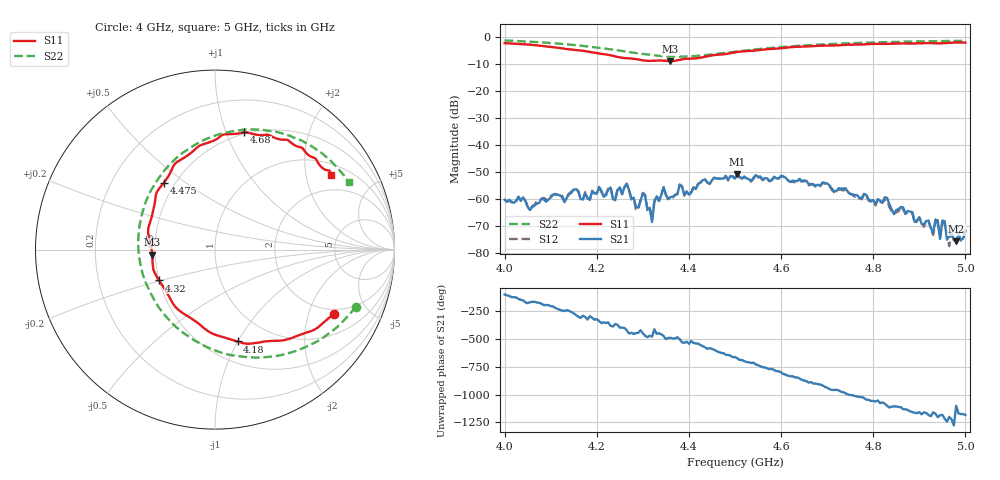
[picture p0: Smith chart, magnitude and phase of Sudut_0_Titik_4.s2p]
# Hz S RI R 50
! CMT, C1220, 16058040, 17.2.0/1
! Date: 15/08/2018 12:26:38
! Data: Format (Calibration Info)
! Freq  S11: Re/Im (F2)  S21: Re/Im (F2)  S12: Re/Im (F2)  S22: Re/Im (F2)
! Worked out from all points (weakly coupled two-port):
!   201 points, 4 GHz to 5 GHz, reference 50 ohm
!   highest |S21| = -50.91 dB at 4.505 GHz (marker M1); lowest = -75.7 dB at 4.98 GHz (marker M2)
!   lowest |S11| = -9.1 dB at 4.36 GHz (marker M3), VSWR 2.08, Z = 24.1 - j1.57 ohm
!   |S11| at or under -10 dB: nowhere
!   |S22| runs from -7.5 to -1.5 dB; largest |S21 - S12| = 0.00013
!   S11 on the Smith chart (normalised r, x): 4 GHz: 1.79, -2.97; 4.18 GHz: 0.70, -1.00; 4.32 GHz: 0.50, -0.20; 4.475 GHz: 0.44, +0.42; 4.68 GHz: 0.49, +1.16; 5 GHz: 1.36, +2.79
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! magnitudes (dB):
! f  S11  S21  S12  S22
! 4 GHz  -2.4  -60.3  -60.4  -1.5
! 4.17 GHz  -5.3  -60.2  -60.2  -3.5
! 4.18 GHz  -5.6  -59.8  -59.8  -3.7
! 4.265 GHz  -8.0  -54.4  -54.4  -5.6
! 4.285 GHz  -8.3  -62.8  -63.8  -6.1
! 4.305 GHz  -8.9  -59.0  -58.5  -6.6
! 4.32 GHz  -9.0  -68.5  -68.1  -6.9
! 4.335 GHz  -8.9  -60.8  -60.7  -7.2
! 4.36 GHz  -9.1  -59.3  -59.2  -7.4
! 4.475 GHz  -6.6  -52.5  -52.6  -6.1
! 4.5 GHz  -5.8  -52.4  -52.5  -5.6
! 4.505 GHz  -5.7  -50.9  -50.9  -5.5
! 4.67 GHz  -3.5  -54.5  -54.8  -3.1
! 4.68 GHz  -3.4  -54.7  -55.1  -3.0
! 4.835 GHz  -2.7  -61.9  -63.0  -2.0
! 4.93 GHz  -2.5  -72.7  -73.3  -1.7
! 4.94 GHz  -2.5  -68.2  -67.9  -1.7
! 4.945 GHz  -2.5  -74.8  -74.5  -1.7
! 4.955 GHz  -2.4  -68.3  -69.2  -1.7
! 4.965 GHz  -2.3  -73.8  -77.5  -1.6
! 4.98 GHz  -2.2  -75.7  -75.8  -1.6
! 5 GHz  -2.3  -71.9  -71.0  -1.6
